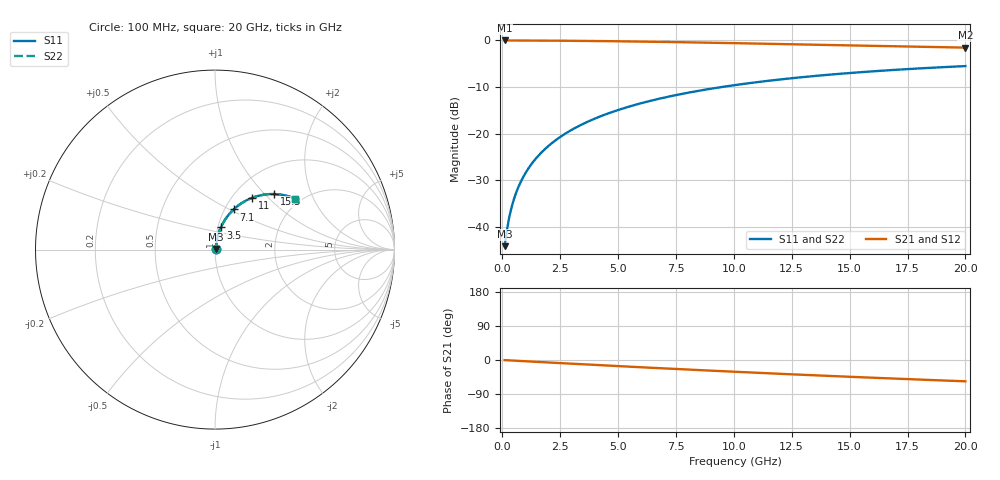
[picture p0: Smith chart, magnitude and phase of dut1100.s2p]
! Touchstone file exported from HFSS 2026.1.0
!  File:  C:/ffzhzh/LocalFiles/Ansys_Project_Files/temp_train_TMRDL_1100_1783161245_43440.aedt
!  Generated:  06:35:34 PM Jul  4, 2026
!  Design:  TMRDL
!  Project:  temp_train_TMRDL_1100_1783161245_43440
! Variables:
!  h_bsmrdl = 2um
!  h_ox = 20um
!  h_rdl = 5um
!  h_sub = 80um
!  h_tmrdl = 3.74um
!  h_tsv = 80um
!  h_via = 3um
!  l_bsmrdl = 300um
!  l_sub = 1242.62um
!  l_tmrdl = 842.62um
!  m_sub = 200um
!  pitch = 47.83um
!  r_tsv = 6um
!  s_tmrdl = 10um
!  w_bsmrdl = 18um
!  w_sub = 500um
!  w_tmrdl = 16.7um
!  x_tsv_center1 = 850.97um
!  x_tsv_center2 = 1168.97um
!  x_tsv_center3 = 2028.29um
!  x_tsv_center4 = 2346.29um
!  x_tsv_center5 = 3205.61um
!  x_tsv_center6 = 3523.61um
# GHz S MA R 50.000000
! Terminal data exported
! Port[1] = TM_RDL1_1_T1
! Port[2] = TM_RDL1_1_T2
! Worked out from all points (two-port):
!   200 points, 100 MHz to 20 GHz, reference 50 ohm
!   highest |S21| = -0.04 dB at 100 MHz (marker M1); lowest = -1.6 dB at 20 GHz (marker M2)
!   |S21| within 3 dB of the highest: start of sweep to end of sweep
!   lowest |S11| = -44.1 dB at 100 MHz (marker M3), VSWR 1.01, Z = 50.5 + j0.397 ohm
!   |S11| at or under -10 dB: start of sweep to 9.482 GHz
!   |S22| runs from -44.1 to -5.5 dB; largest |S21 - S12| = 2.6e-15
!   S11 on the Smith chart (normalised r, x): 100 MHz: 1.01, +0.01; 3.5 GHz: 1.03, +0.26; 7.1 GHz: 1.10, +0.52; 11 GHz: 1.23, +0.81; 15.3 GHz: 1.46, +1.14; 20 GHz: 1.87, +1.47
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0.1  0.006268 38.8  0.9951 -0.3  0.9951 -0.3  0.006268 38.8
! Gamma 0 0 0 0
! Port Impedance 50 0 50 0
0.2  0.009309 56.8  0.995 -0.7  0.995 -0.7  0.009309 56.8
0.3  0.01276 65.1  0.9948 -1.0  0.9948 -1.0  0.01276 65.1
0.4  0.0163 69.5  0.9945 -1.3  0.9945 -1.3  0.0163 69.5
0.5  0.01987 72.3  0.9943 -1.7  0.9943 -1.7  0.01987 72.3
0.6  0.02346 74.2  0.9942 -2.0  0.9942 -2.0  0.02346 74.2
0.8  0.03067 76.5  0.9938 -2.6  0.9938 -2.6  0.03067 76.5
1.1  0.04155 78.2  0.9932 -3.6  0.9932 -3.6  0.04155 78.2
1.5  0.05609 78.8  0.9923 -4.9  0.9923 -4.9  0.0561 78.8
2.1  0.07787 78.4  0.9905 -6.9  0.9905 -6.9  0.07787 78.4
2.7  0.09947 77.2  0.9882 -8.8  0.9882 -8.8  0.09947 77.2
3.5  0.1278 75.3  0.9844 -11.4  0.9844 -11.4  0.1279 75.3
5  0.1793 71.1  0.9751 -16.1  0.9751 -16.1  0.1793 71.1
6.8  0.2376 65.9  0.9612 -21.6  0.9612 -21.6  0.2376 65.9
7.1  0.2469 65.1  0.9587 -22.5  0.9587 -22.5  0.2469 65.1
8.5  0.2886 61.1  0.9461 -26.7  0.9461 -26.7  0.2886 61.1
10.1  0.3329 56.7  0.9307 -31.2  0.9307 -31.2  0.3329 56.6
11  0.3563 54.2  0.9217 -33.7  0.9217 -33.7  0.3563 54.2
13.4  0.4129 48.0  0.8972 -40.2  0.8972 -40.2  0.4129 47.9
15.3  0.4521 43.2  0.878 -45.1  0.878 -45.1  0.4521 43.2
16.7  0.4779 39.8  0.8643 -48.5  0.8643 -48.5  0.4779 39.8
20  0.5292 32.3  0.8343 -56.3  0.8343 -56.3  0.5292 32.3
